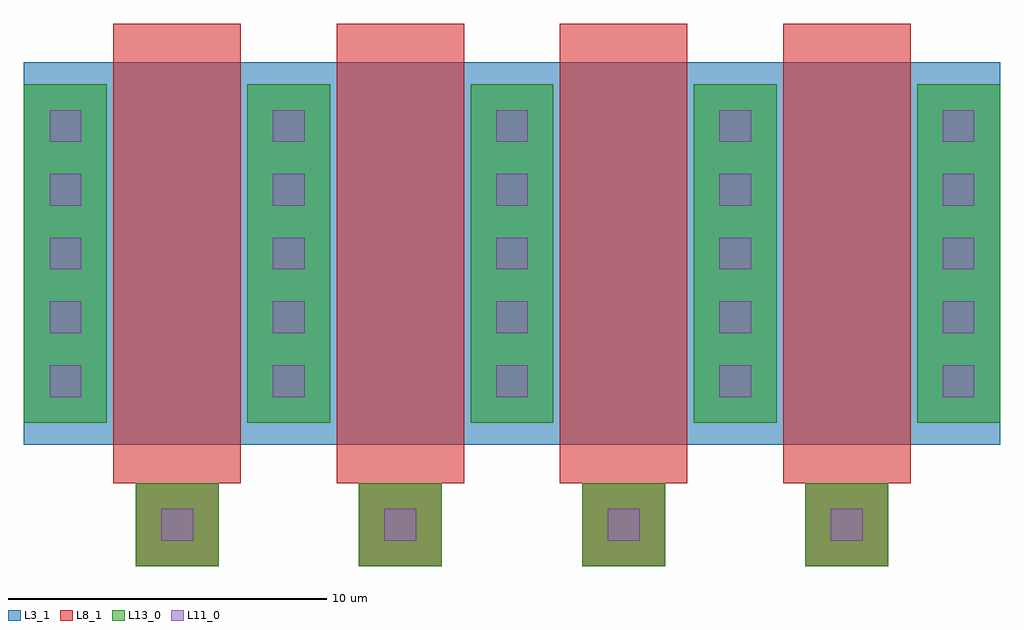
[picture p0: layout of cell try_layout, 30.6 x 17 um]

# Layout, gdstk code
import gdstk
lib = gdstk.Library(unit=1e-6, precision=1e-07)
def R(c, l, rs):  # rectangles x0, y0, x1, y1
    for r in rs: c.add(gdstk.rectangle(r[:2], r[2:], *l))
def A(c, l, x, y, w, h, nx, ny, dx, dy):  # array of equal rectangles
    R(c, l, [(x+i*dx, y+j*dy, x+i*dx+w, y+j*dy+h) for i in range(nx) for j in range(ny)])
L3_1 = (3, 1)
L8_1 = (8, 1)
L11_0 = (11, 0)
L13_0 = (13, 0)

fet_p = lib.new_cell('fet_p')
R(fet_p, L3_1, [(-15.3,-6,15.3,6)])
A(fet_p, L11_0, -14.5, -4.5, 1, 1, 5, 5, 7, 2)
A(fet_p, L13_0, -15.3, -5.3, 2.6, 10.6, 5, 1, 7, 0)
fet_p.add(gdstk.FlexPath([(3.5,-7.2),(3.5,7.2)], 4, ends="flush", simple_path=True, layer=8, datatype=1))  # L8_1
fet_p.add(gdstk.FlexPath([(-3.5,-7.2),(-3.5,7.2)], 4, ends="flush", simple_path=True, layer=8, datatype=1))  # L8_1
fet_p.add(gdstk.FlexPath([(10.5,-7.2),(10.5,7.2)], 4, ends="flush", simple_path=True, layer=8, datatype=1))  # L8_1
fet_p.add(gdstk.FlexPath([(-10.5,-7.2),(-10.5,7.2)], 4, ends="flush", simple_path=True, layer=8, datatype=1))  # L8_1

cont_g = lib.new_cell('cont_g')
R(cont_g, L8_1, [(-1.3,-1.3,1.3,1.3)])
R(cont_g, L11_0, [(-0.5,-0.5,0.5,0.5)])
R(cont_g, L13_0, [(-1.3,-1.3,1.3,1.3)])

try_layout = lib.new_cell('try_layout')
try_layout.add(gdstk.Reference(fet_p, (0,100)))
try_layout.add(gdstk.Reference(cont_g, (-10.5,91.5)))
try_layout.add(gdstk.Reference(cont_g, (-3.5,91.5)))
try_layout.add(gdstk.Reference(cont_g, (3.5,91.5)))
try_layout.add(gdstk.Reference(cont_g, (10.5,91.5)))

lib.write_gds('try_layout.gds')
